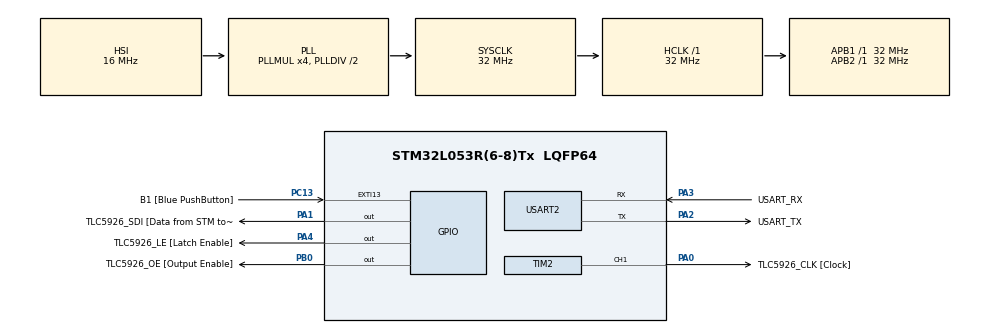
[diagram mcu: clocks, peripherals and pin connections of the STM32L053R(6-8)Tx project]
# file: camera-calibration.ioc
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Mcu.Family=STM32L0
Mcu.Name=STM32L053R(6-8)Tx
Mcu.Package=LQFP64
NVIC.TIM2_IRQn=true\:0\:0\:false\:false\:true\:true\:true\:true
NVIC.USART2_IRQn=true\:0\:0\:false\:false\:true\:true\:true\:true
PA0.GPIO_Label=TLC5926_CLK [Clock]
PA0.GPIO_Speed=GPIO_SPEED_FREQ_VERY_HIGH
PA0.Signal=S_TIM2_CH1
PA1.GPIO_Label=TLC5926_SDI [Data from STM to TLC]
PA1.GPIO_Speed=GPIO_SPEED_FREQ_VERY_HIGH
PA1.Signal=GPIO_Output
PA13.GPIO_Label=TMS
PA13.Mode=Serial_Wire
PA13.Signal=SYS_SWDIO
PA14.GPIO_Label=TCK
PA14.Mode=Serial_Wire
PA14.Signal=SYS_SWCLK
PA2.GPIO_Label=USART_TX
PA2.Mode=Asynchronous
PA2.Signal=USART2_TX
PA3.GPIO_Label=USART_RX
PA3.Mode=Asynchronous
PA3.Signal=USART2_RX
PA4.GPIO_Label=TLC5926_LE [Latch Enable]
PA4.GPIO_Speed=GPIO_SPEED_FREQ_VERY_HIGH
PA4.Signal=GPIO_Output
PB0.GPIO_Label=TLC5926_OE [Output Enable]
PB0.GPIO_ModeDefaultOutputPP=GPIO_MODE_OUTPUT_OD
PB0.GPIO_PuPd=GPIO_NOPULL
PB0.GPIO_Speed=GPIO_SPEED_FREQ_VERY_HIGH
PB0.Signal=GPIO_Output
PC13.GPIO_Label=B1 [Blue PushButton]
PC13.GPIO_ModeDefaultEXTI=GPIO_MODE_IT_FALLING
PC13.Signal=GPXTI13
PC14-OSC32_IN.Mode=LSE-External-Oscillator
PC14-OSC32_IN.Signal=RCC_OSC32_IN
PC15-OSC32_OUT.Mode=LSE-External-Oscillator
PC15-OSC32_OUT.Signal=RCC_OSC32_OUT
PH0-OSC_IN.Mode=HSE-External-Clock-Source
PH0-OSC_IN.Signal=RCC_OSC_IN
PH1-OSC_OUT.Signal=RCC_OSC_OUT
ProjectManager.HeapSize=0x200
ProjectManager.StackSize=0x400
ProjectManager.TargetToolchain=STM32CubeIDE
RCC.AHBFreq_Value=32000000
RCC.APB1Freq_Value=32000000
RCC.APB1TimFreq_Value=32000000
RCC.APB2Freq_Value=32000000
RCC.APB2TimFreq_Value=32000000
RCC.HCLKFreq_Value=32000000
RCC.HSE_VALUE=8000000
RCC.HSI16_VALUE=16000000
RCC.HSI48_VALUE=48000000
RCC.HSI_VALUE=16000000
RCC.MSI_VALUE=2097000
RCC.PLLMUL=RCC_PLLMUL_4
RCC.SYSCLKFreq_VALUE=32000000
RCC.SYSCLKSource=RCC_SYSCLKSOURCE_PLLCLK
RCC.VCOOutputFreq_Value=64000000
SH.S_TIM2_CH1.0=TIM2_CH1,Output Compare1 CH1
TIM2.Channel-Output\ Compare1\ CH1=TIM_CHANNEL_1
TIM2.OC1Preload=DISABLE
TIM2.OCMode_1=TIM_OCMODE_TOGGLE
TIM2.Period=1000
TIM2.Prescaler=32-1
TIM2.Pulse-Output\ Compare1\ CH1=0
USART2.VirtualMode-Asynchronous=VM_ASYNC
VP_TIM2_VS_ClockSourceINT.Mode=Internal
board=NUCLEO-L053R8

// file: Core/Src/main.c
/* USER CODE BEGIN Header */
/**
  ******************************************************************************
  * @file           : main.c
  * @brief          : Main program body
  ******************************************************************************
  * @attention
  *
  * Copyright (c) 2024 STMicroelectronics.
  * All rights reserved.
  *
  * This software is licensed under terms that can be found in the LICENSE file
  * in the root directory of this software component.
  * If no LICENSE file comes with this software, it is provided AS-IS.
  *
  ******************************************************************************
  */
/* USER CODE END Header */
#include "main.h"

/* USER CODE BEGIN Includes */
#include "str.h"
#include <stdio.h>
#include <string.h>
#include <errno.h>
#include <stdlib.h>
/* USER CODE END Includes */

/* USER CODE BEGIN PTD */

#define UART2_RXBUFFER_SIZE 	32

uint8_t UART2_RxBuffer[UART2_RXBUFFER_SIZE] = {0};
uint16_t UART2_RxBufferPos = 0;

/* USER CODE END PTD */

TIM_HandleTypeDef htim2;

UART_HandleTypeDef huart2;

/* USER CODE BEGIN PV */

#ifdef __GNUC__
#define PUTCHAR_PROTOTYPE int __io_putchar(int ch)
#else
#define PUTCHAR_PROTOTYPE int fputc(int ch, FILE *f)
#endif

PUTCHAR_PROTOTYPE
{
  HAL_UART_Transmit(&huart2, (uint8_t *)&ch, 1, HAL_MAX_DELAY);
  return ch;
}

/* USER CODE END PV */

void SystemClock_Config(void);
static void MX_GPIO_Init(void);
static void MX_USART2_UART_Init(void);
static void MX_TIM2_Init(void);

int main(void)
{

  /* MCU Configuration--------------------------------------------------------*/

  /* Reset of all peripherals, Initializes the Flash interface and the Systick. */
  HAL_Init();

  /* Configure the system clock */
  SystemClock_Config();

  /* Initialize all configured peripherals */
  MX_GPIO_Init();
  MX_USART2_UART_Init();
  MX_TIM2_Init();
  /* USER CODE BEGIN 2 */

  TIM2->CCR1 = 0;
  HAL_TIM_PWM_Start(&htim2, TIM_CHANNEL_1);
  HAL_UART_Receive_IT(&huart2, UART2_RxBuffer, 1); 	// somehow is required to start HAL_UART_RxCpltCallback

  char in[1024] = {0};
  uint16_t in_pos = 0;

  /* tlc enters normal mode on startup by default */
  HAL_GPIO_WritePin(TLC5926_LE_GPIO_Port, TLC5926_LE_Pin, GPIO_PIN_SET); /* high LE = transfer to latch */
  HAL_GPIO_WritePin(TLC5926_OE_GPIO_Port, TLC5926_OE_Pin, GPIO_PIN_RESET); /* low OE = drive LEDs */
  HAL_GPIO_WritePin(TLC5926_SDI_GPIO_Port, TLC5926_SDI_Pin, GPIO_PIN_SET);

  /* USER CODE END 2 */

  /* Infinite loop */
  /* USER CODE BEGIN WHILE */
  // TIM2->ARR = auto reload register
  // TIM2->PSC = prescaler
  //int base_MHZ_reciproc = 16667; // 1000; = 1kHz
  TIM2->PSC = 40; //(32)*base_MHZ_reciproc - 1; // 31(+1) => 1MHz counter
  TIM2->ARR = 813; //20;
  int state = 0;
  int led = 0;
  int latch = 0;

  HAL_TIM_Base_Start_IT(&htim2);

  while (1)
  {

	  if(UART2_RxBufferPos) {
		  size_t len = in_pos + UART2_RxBufferPos < 1024 ? UART2_RxBufferPos : 1024 - 1 - in_pos;
		  memcpy(in+in_pos, UART2_RxBuffer, len);
		  in_pos += UART2_RxBufferPos;
		  UART2_RxBufferPos = 0;
	  }

#if 0
	  if(memchr(in, '\n', 1024) || memchr(in, '\r', 1024)) {

		  if(!strncmp(in, "-help", strlen("-help"))) {
			  printf("HELP!\r\n");
		  }
		  if(!strncmp(in, "-pwm ", strlen("-pwm "))) {
			  char *in_num = in + strlen("-pwm ");
			  char *endptr = 0;
			  errno = 0;
			  long num = strtol(in_num, &endptr, 0);
			  if(errno || (!strchr("\n\r", *endptr)) || (num > TIM2->ARR)) {
				  printf("invalid input. enter integer from 0 to %li\r\n", TIM2->ARR);
			  } else {
				  TIM2->CCR1 = num;
			  }
		  }

		  /* at last, clear string */
		  memset(in, 0, 1024);
		  in_pos = 0;
	  }
#endif

#if 0
	  /* shift in a bunch of ones */
	  if (!state) {
		  if (led >= 700) {
			  HAL_GPIO_WritePin(TLC5926_SDI_GPIO_Port, TLC5926_SDI_Pin, 1);
			  led = 0;
		  } else {
			  HAL_GPIO_WritePin(TLC5926_SDI_GPIO_Port, TLC5926_SDI_Pin, 0);
		  }
		  ++led;
	  }
	  HAL_GPIO_WritePin(TLC5926_CLK_GPIO_Port, TLC5926_CLK_Pin, state);
	  state ^= 1;

	  //HAL_GPIO_WritePin(TLC5926_SDI_GPIO_Port, TLC5926_SDI_Pin, GPIO_PIN_RESET);
	  //HAL_GPIO_WritePin(TLC5926_CLK_GPIO_Port, TLC5926_CLK_Pin, GPIO_PIN_RESET);
#endif

    /* USER CODE END WHILE */

  }
}

void SystemClock_Config(void)
{
  RCC_OscInitTypeDef RCC_OscInitStruct = {0};
  RCC_ClkInitTypeDef RCC_ClkInitStruct = {0};
  RCC_PeriphCLKInitTypeDef PeriphClkInit = {0};

  /** Configure the main internal regulator output voltage
  */
  __HAL_PWR_VOLTAGESCALING_CONFIG(PWR_REGULATOR_VOLTAGE_SCALE1);

  /** Initializes the RCC Oscillators according to the specified parameters
  * in the RCC_OscInitTypeDef structure.
  */
  RCC_OscInitStruct.OscillatorType = RCC_OSCILLATORTYPE_HSI;
  RCC_OscInitStruct.HSIState = RCC_HSI_ON;
  RCC_OscInitStruct.HSICalibrationValue = RCC_HSICALIBRATION_DEFAULT;
  RCC_OscInitStruct.PLL.PLLState = RCC_PLL_ON;
  RCC_OscInitStruct.PLL.PLLSource = RCC_PLLSOURCE_HSI;
  RCC_OscInitStruct.PLL.PLLMUL = RCC_PLLMUL_4;
  RCC_OscInitStruct.PLL.PLLDIV = RCC_PLLDIV_2;
  if (HAL_RCC_OscConfig(&RCC_OscInitStruct) != HAL_OK)
  {
    Error_Handler();
  }

  /** Initializes the CPU, AHB and APB buses clocks
  */
  RCC_ClkInitStruct.ClockType = RCC_CLOCKTYPE_HCLK|RCC_CLOCKTYPE_SYSCLK
                              |RCC_CLOCKTYPE_PCLK1|RCC_CLOCKTYPE_PCLK2;
  RCC_ClkInitStruct.SYSCLKSource = RCC_SYSCLKSOURCE_PLLCLK;
  RCC_ClkInitStruct.AHBCLKDivider = RCC_SYSCLK_DIV1;
  RCC_ClkInitStruct.APB1CLKDivider = RCC_HCLK_DIV1;
  RCC_ClkInitStruct.APB2CLKDivider = RCC_HCLK_DIV1;

  if (HAL_RCC_ClockConfig(&RCC_ClkInitStruct, FLASH_LATENCY_1) != HAL_OK)
  {
    Error_Handler();
  }
  PeriphClkInit.PeriphClockSelection = RCC_PERIPHCLK_USART2;
  PeriphClkInit.Usart2ClockSelection = RCC_USART2CLKSOURCE_PCLK1;
  if (HAL_RCCEx_PeriphCLKConfig(&PeriphClkInit) != HAL_OK)
  {
    Error_Handler();
  }
}

static void MX_TIM2_Init(void)
{

  TIM_ClockConfigTypeDef sClockSourceConfig = {0};
  TIM_MasterConfigTypeDef sMasterConfig = {0};
  TIM_OC_InitTypeDef sConfigOC = {0};

  htim2.Instance = TIM2;
  htim2.Init.Prescaler = 32-1;
  htim2.Init.CounterMode = TIM_COUNTERMODE_UP;
  htim2.Init.Period = 1000;
  htim2.Init.ClockDivision = TIM_CLOCKDIVISION_DIV1;
  htim2.Init.AutoReloadPreload = TIM_AUTORELOAD_PRELOAD_DISABLE;
  if (HAL_TIM_Base_Init(&htim2) != HAL_OK)
  {
    Error_Handler();
  }
  sClockSourceConfig.ClockSource = TIM_CLOCKSOURCE_INTERNAL;
  if (HAL_TIM_ConfigClockSource(&htim2, &sClockSourceConfig) != HAL_OK)
  {
    Error_Handler();
  }
  if (HAL_TIM_OC_Init(&htim2) != HAL_OK)
  {
    Error_Handler();
  }
  sMasterConfig.MasterOutputTrigger = TIM_TRGO_RESET;
  sMasterConfig.MasterSlaveMode = TIM_MASTERSLAVEMODE_DISABLE;
  if (HAL_TIMEx_MasterConfigSynchronization(&htim2, &sMasterConfig) != HAL_OK)
  {
    Error_Handler();
  }
  sConfigOC.OCMode = TIM_OCMODE_TOGGLE;
  sConfigOC.Pulse = 0;
  sConfigOC.OCPolarity = TIM_OCPOLARITY_HIGH;
  sConfigOC.OCFastMode = TIM_OCFAST_DISABLE;
  if (HAL_TIM_OC_ConfigChannel(&htim2, &sConfigOC, TIM_CHANNEL_1) != HAL_OK)
  {
    Error_Handler();
  }
  HAL_TIM_MspPostInit(&htim2);

}

static void MX_USART2_UART_Init(void)
{

  huart2.Instance = USART2;
  huart2.Init.BaudRate = 115200;
  huart2.Init.WordLength = UART_WORDLENGTH_8B;
  huart2.Init.StopBits = UART_STOPBITS_1;
  huart2.Init.Parity = UART_PARITY_NONE;
  huart2.Init.Mode = UART_MODE_TX_RX;
  huart2.Init.HwFlowCtl = UART_HWCONTROL_NONE;
  huart2.Init.OverSampling = UART_OVERSAMPLING_16;
  huart2.Init.OneBitSampling = UART_ONE_BIT_SAMPLE_DISABLE;
  huart2.AdvancedInit.AdvFeatureInit = UART_ADVFEATURE_NO_INIT;
  if (HAL_UART_Init(&huart2) != HAL_OK)
  {
    Error_Handler();
  }
  /* USER CODE BEGIN USART2_Init 2 */
  //huart2.

  /* USER CODE END USART2_Init 2 */

}

static void MX_GPIO_Init(void)
{
  GPIO_InitTypeDef GPIO_InitStruct = {0};

  /* GPIO Ports Clock Enable */
  __HAL_RCC_GPIOC_CLK_ENABLE();
  __HAL_RCC_GPIOH_CLK_ENABLE();
  __HAL_RCC_GPIOA_CLK_ENABLE();
  __HAL_RCC_GPIOB_CLK_ENABLE();

  /*Configure GPIO pin Output Level */
  HAL_GPIO_WritePin(GPIOA, TLC5926_SDI_Pin|TLC5926_LE_Pin, GPIO_PIN_RESET);

  /*Configure GPIO pin Output Level */
  HAL_GPIO_WritePin(TLC5926_OE_GPIO_Port, TLC5926_OE_Pin, GPIO_PIN_RESET);

  /*Configure GPIO pin : B1_Pin */
  GPIO_InitStruct.Pin = B1_Pin;
  GPIO_InitStruct.Mode = GPIO_MODE_IT_FALLING;
  GPIO_InitStruct.Pull = GPIO_NOPULL;
  HAL_GPIO_Init(B1_GPIO_Port, &GPIO_InitStruct);

  /*Configure GPIO pins : TLC5926_SDI_Pin TLC5926_LE_Pin */
  GPIO_InitStruct.Pin = TLC5926_SDI_Pin|TLC5926_LE_Pin;
  GPIO_InitStruct.Mode = GPIO_MODE_OUTPUT_PP;
  GPIO_InitStruct.Pull = GPIO_NOPULL;
  GPIO_InitStruct.Speed = GPIO_SPEED_FREQ_VERY_HIGH;
  HAL_GPIO_Init(GPIOA, &GPIO_InitStruct);

  /*Configure GPIO pin : TLC5926_OE_Pin */
  GPIO_InitStruct.Pin = TLC5926_OE_Pin;
  GPIO_InitStruct.Mode = GPIO_MODE_OUTPUT_OD;
  GPIO_InitStruct.Pull = GPIO_NOPULL;
  GPIO_InitStruct.Speed = GPIO_SPEED_FREQ_VERY_HIGH;
  HAL_GPIO_Init(TLC5926_OE_GPIO_Port, &GPIO_InitStruct);

}

/* USER CODE BEGIN 4 */

void HAL_UART_RxCpltCallback(UART_HandleTypeDef *huart)
{
	uint8_t c;
	HAL_UART_Receive_IT(&huart2, &c, 1);

	if(UART2_RxBufferPos < UART2_RXBUFFER_SIZE) {
		HAL_UART_Transmit(&huart2, &c, 1, 10);
		UART2_RxBuffer[UART2_RxBufferPos++] = c;
		switch(c) {
		case '\r': case '\n': {
			uint8_t response[] = "\r\n";
			HAL_UART_Transmit(&huart2, response, sizeof(response), 10);
		} break;
		case 8: { // backspace
			uint8_t response[] = " \b";
			HAL_UART_Transmit(&huart2, response, sizeof(response), 10);
		} break;
		}
	}
}

/* USER CODE END 4 */

void Error_Handler(void)
{
  __disable_irq();
  while (1)
  {
  }
}
